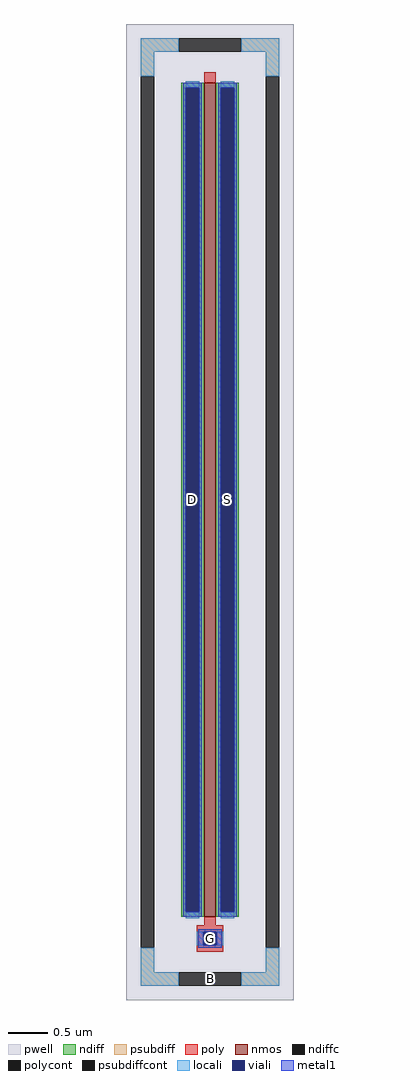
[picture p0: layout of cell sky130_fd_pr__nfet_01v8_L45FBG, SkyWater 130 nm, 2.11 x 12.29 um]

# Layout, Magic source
magic
tech sky130A
magscale 1 2
<< pwell >>
rect -211 -1229 211 1229
<< nmos >>
rect -15 -1019 15 1081
<< ndiff >>
rect -73 1069 -15 1081
rect -73 -1007 -61 1069
rect -27 -1007 -15 1069
rect -73 -1019 -15 -1007
rect 15 1069 73 1081
rect 15 -1007 27 1069
rect 61 -1007 73 1069
rect 15 -1019 73 -1007
<< ndiffc >>
rect -61 -1007 -27 1069
rect 27 -1007 61 1069
<< psubdiff >>
rect -175 1159 -79 1193
rect 79 1159 175 1193
rect -175 1097 -141 1159
rect 141 1097 175 1159
rect -175 -1159 -141 -1097
rect 141 -1159 175 -1097
rect -175 -1193 -79 -1159
rect 79 -1193 175 -1159
<< psubdiffcont >>
rect -79 1159 79 1193
rect -175 -1097 -141 1097
rect 141 -1097 175 1097
rect -79 -1193 79 -1159
<< poly >>
rect -15 1081 15 1107
rect -15 -1041 15 -1019
rect -33 -1057 33 -1041
rect -33 -1091 -17 -1057
rect 17 -1091 33 -1057
rect -33 -1107 33 -1091
<< polycont >>
rect -17 -1091 17 -1057
<< locali >>
rect -175 1159 -79 1193
rect 79 1159 175 1193
rect -175 1097 -141 1159
rect 141 1097 175 1159
rect -61 1069 -27 1085
rect -61 -1023 -27 -1007
rect 27 1069 61 1085
rect 27 -1023 61 -1007
rect -33 -1091 -17 -1057
rect 17 -1091 33 -1057
rect -175 -1159 -141 -1097
rect 141 -1159 175 -1097
rect -175 -1193 -79 -1159
rect 79 -1193 175 -1159
<< viali >>
rect -61 -1007 -27 1069
rect 27 -1007 61 1069
rect -17 -1091 17 -1057
<< metal1 >>
rect -67 1069 -21 1081
rect -67 -1007 -61 1069
rect -27 -1007 -21 1069
rect -67 -1019 -21 -1007
rect 21 1069 67 1081
rect 21 -1007 27 1069
rect 61 -1007 67 1069
rect 21 -1019 67 -1007
rect -29 -1057 29 -1051
rect -29 -1091 -17 -1057
rect 17 -1091 29 -1057
rect -29 -1097 29 -1091
<< labels >>
rlabel psubdiffcont 0 -1176 0 -1176 0 B
port 1 nsew
rlabel ndiffc -44 31 -44 31 0 D
port 2 nsew
rlabel ndiffc 44 31 44 31 0 S
port 3 nsew
rlabel polycont 0 -1074 0 -1074 0 G
port 4 nsew
<< properties >>
string FIXED_BBOX -158 -1176 158 1176
string gencell sky130_fd_pr__nfet_01v8
string library sky130
string parameters w 10.5 l 0.15 m 1 nf 1 diffcov 100 polycov 100 guard 1 glc 1 grc 1 gtc 1 gbc 1 tbcov 100 rlcov 100 topc 0 botc 1 poverlap 0 doverlap 0 lmin 0.15 wmin 0.42 class mosfet compatible {sky130_fd_pr__nfet_01v8 sky130_fd_pr__nfet_01v8_lvt  sky130_fd_bs_flash__special_sonosfet_star  sky130_fd_pr__nfet_g5v0d10v5 sky130_fd_pr__nfet_05v0_nvt  sky130_fd_pr__nfet_03v3_nvt} full_metal 1 viasrc 100 viadrn 100 viagate 100 viagb 0 viagr 0 viagl 0 viagt 0 doports 1
<< end >>
